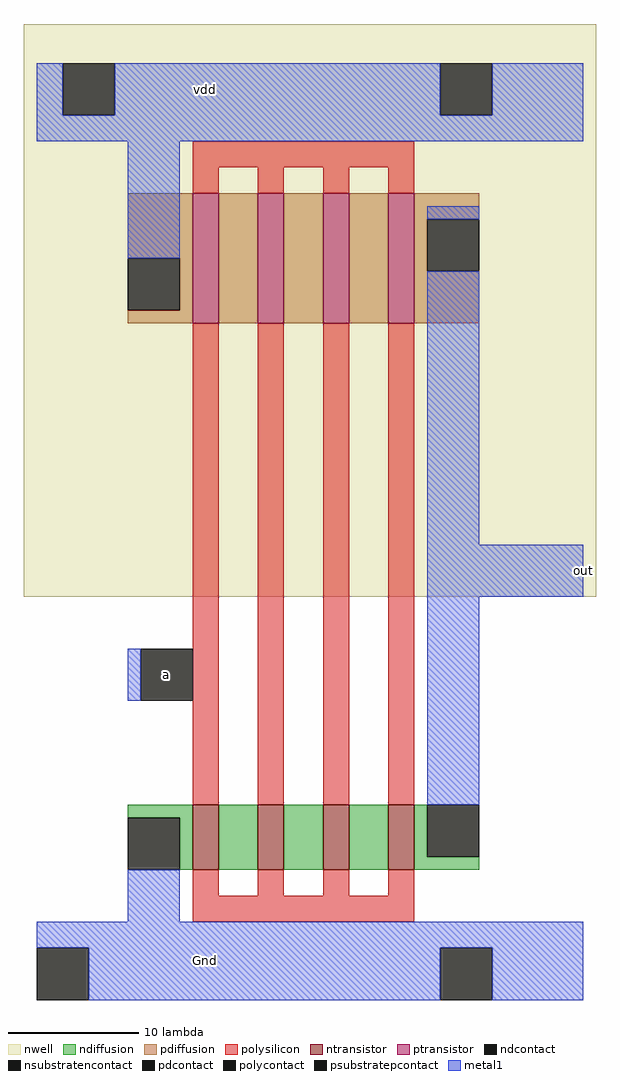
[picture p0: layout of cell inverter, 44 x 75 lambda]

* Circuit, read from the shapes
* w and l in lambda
.subckt inverter Gnd a out vdd
M1 n1 a Gnd Gnd nfet w=5 l=2
M2 n2 a n1 Gnd nfet w=5 l=2
M3 n3 a n2 Gnd nfet w=5 l=2
M4 out a n3 Gnd nfet w=5 l=2
M5 n4 a vdd vdd pfet w=10 l=2
M6 n5 a n4 vdd pfet w=10 l=2
M7 n6 a n5 vdd pfet w=10 l=2
M8 out a n6 vdd pfet w=10 l=2
.ends

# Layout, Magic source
magic
tech min2
<< nwell >>
rect -12 24 32 68
<< ntransistor >>
rect 1 3 3 8
rect 6 3 8 8
rect 11 3 13 8
rect 16 3 18 8
<< ptransistor >>
rect 1 45 3 55
rect 6 45 8 55
rect 11 45 13 55
rect 16 45 18 55
<< ndiffusion >>
rect -4 7 1 8
rect 0 3 1 7
rect 3 3 6 8
rect 8 3 11 8
rect 13 3 16 8
rect 18 4 19 8
rect 18 3 23 4
<< pdiffusion >>
rect -4 50 1 55
rect 0 46 1 50
rect -4 45 1 46
rect 3 45 6 55
rect 8 45 11 55
rect 13 45 16 55
rect 18 53 23 55
rect 18 49 19 53
rect 18 45 23 49
<< ndcontact >>
rect -4 3 0 7
rect 19 4 23 8
<< pdcontact >>
rect -4 46 0 50
rect 19 49 23 53
<< psubstratepcontact >>
rect -11 -7 -7 -3
rect 20 -7 24 -3
<< nsubstratencontact >>
rect -9 61 -5 65
rect 20 61 24 65
<< polysilicon >>
rect 1 57 18 59
rect 1 55 3 57
rect 6 55 8 57
rect 11 55 13 57
rect 16 55 18 57
rect 1 8 3 45
rect 6 8 8 45
rect 11 8 13 45
rect 16 8 18 45
rect 1 1 3 3
rect 6 1 8 3
rect 11 1 13 3
rect 16 1 18 3
rect 1 -1 18 1
<< polycontact >>
rect -3 16 1 20
<< metal1 >>
rect -11 61 -9 65
rect -5 61 20 65
rect 24 61 31 65
rect -11 59 31 61
rect -4 50 0 59
rect 19 53 23 54
rect 19 28 23 49
rect 19 24 31 28
rect -4 16 -3 20
rect 19 8 23 24
rect -4 -1 0 3
rect -11 -3 31 -1
rect -7 -7 20 -3
rect 24 -7 31 -3
<< labels >>
rlabel polycontact -1 18 -1 18 1 a
rlabel metal1 2 -4 2 -4 1 Gnd
rlabel metal1 2 63 2 63 5 vdd
rlabel metal1 31 24 31 28 7 out
<< end >>
